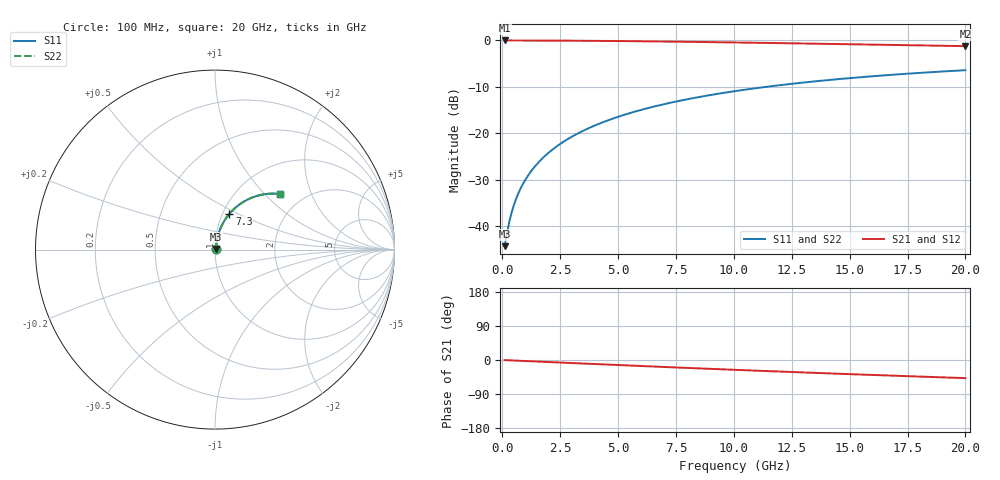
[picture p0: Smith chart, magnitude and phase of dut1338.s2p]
! Touchstone file exported from HFSS 2026.1.0
!  File:  C:/ffzhzh/LocalFiles/Ansys_Project_Files/temp_train_TMRDL_1338_1783165301_43440.aedt
!  Generated:  07:42:52 PM Jul  4, 2026
!  Design:  TMRDL
!  Project:  temp_train_TMRDL_1338_1783165301_43440
! Variables:
!  h_bsmrdl = 2um
!  h_ox = 20um
!  h_rdl = 5um
!  h_sub = 80um
!  h_tmrdl = 3.4um
!  h_tsv = 80um
!  h_via = 3um
!  l_bsmrdl = 300um
!  l_sub = 1088.28um
!  l_tmrdl = 688.28um
!  m_sub = 200um
!  pitch = 41.12um
!  r_tsv = 6um
!  s_tmrdl = 10um
!  w_bsmrdl = 18um
!  w_sub = 500um
!  w_tmrdl = 13.97um
!  x_tsv_center1 = 695.265um
!  x_tsv_center2 = 1013.265um
!  x_tsv_center3 = 1715.515um
!  x_tsv_center4 = 2033.515um
!  x_tsv_center5 = 2735.765um
!  x_tsv_center6 = 3053.765um
# GHz S MA R 50.000000
! Terminal data exported
! Port[1] = TM_RDL1_1_T1
! Port[2] = TM_RDL1_1_T2
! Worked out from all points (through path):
!   200 points, 100 MHz to 20 GHz, reference 50 ohm
!   highest |S21| = -0.05 dB at 100 MHz (marker M1); lowest = -1.3 dB at 20 GHz (marker M2)
!   group delay of S21, straight-line fit = 6.65 ps
!   lowest |S11| = -44.2 dB at 100 MHz (marker M3), VSWR 1.01, Z = 50.5 + j0.329 ohm
!   |S11| at or under -10 dB: start of sweep to 11.41 GHz
!   |S22| runs from -44.2 to -6.4 dB; largest |S21 - S12| = 2.6e-15
!   S11 on the Smith chart (normalised r, x): 100 MHz: 1.01, +0.01; 7.3 GHz: 1.08, +0.45; 20 GHz: 1.54, +1.23
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0.1  0.006143 32.0  0.9948 -0.3  0.9948 -0.3  0.006143 32.0
! Gamma 0 0 0 0
! Port Impedance 50 0 50 0
0.2  0.008399 50.4  0.9947 -0.6  0.9947 -0.6  0.0084 50.4
0.3  0.01113 60.0  0.9945 -0.8  0.9945 -0.8  0.01113 60.0
0.4  0.01402 65.6  0.9944 -1.1  0.9944 -1.1  0.01402 65.6
0.5  0.01696 69.0  0.9942 -1.4  0.9942 -1.4  0.01696 69.0
0.6  0.01992 71.4  0.994 -1.7  0.994 -1.7  0.01993 71.4
0.8  0.02588 74.4  0.9937 -2.2  0.9937 -2.2  0.02588 74.4
1.1  0.03486 76.8  0.9932 -3.0  0.9932 -3.0  0.03486 76.8
1.3  0.04087 77.6  0.9929 -3.5  0.9929 -3.5  0.04088 77.6
1.6  0.04991 78.3  0.9924 -4.3  0.9924 -4.3  0.04991 78.3
2.1  0.06498 78.5  0.9913 -5.7  0.9913 -5.7  0.06499 78.5
2.7  0.08301 77.9  0.9897 -7.3  0.9897 -7.3  0.08301 77.9
3.5  0.1068 76.7  0.987 -9.4  0.987 -9.4  0.1068 76.7
4.2  0.1274 75.3  0.9841 -11.2  0.9841 -11.2  0.1274 75.3
5  0.1505 73.5  0.9803 -13.3  0.9803 -13.3  0.1505 73.5
6.8  0.2008 69.3  0.9701 -17.9  0.9701 -17.9  0.2008 69.3
7.3  0.2142 68.2  0.9669 -19.2  0.9669 -19.2  0.2142 68.1
8.6  0.2482 65.1  0.9579 -22.4  0.9579 -22.4  0.2482 65.1
10.1  0.2854 61.6  0.9467 -26.1  0.9467 -26.1  0.2854 61.6
13.4  0.3597 54.2  0.9198 -33.8  0.9198 -33.8  0.3597 54.1
16.7  0.4234 47.1  0.8918 -41.0  0.8918 -41.0  0.4235 47.1
20  0.4769 40.5  0.8643 -47.8  0.8643 -47.8  0.477 40.4
